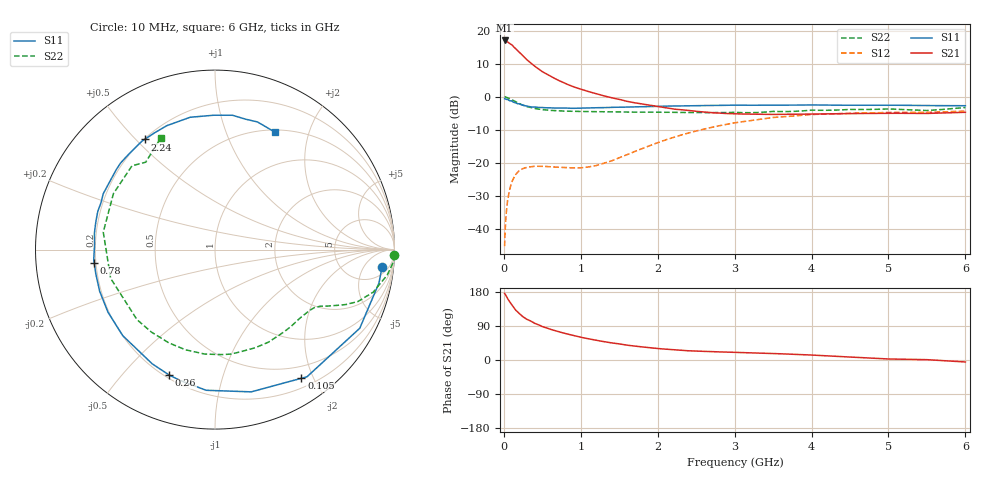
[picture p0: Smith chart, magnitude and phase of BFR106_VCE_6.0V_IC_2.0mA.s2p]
! Infineon Technologies  Discrete & RF Semiconductors
! BFR106
! VCE =  6.0 V,  IC =  2.0 mA
! Common Emitter S-Parameters:  Nov 2015
# GHz  S  MA  R  50
!  f  S11  S21  S12  S22
! GHz  MAG  ANG  MAG  ANG  MAG  ANG  MAG  ANG
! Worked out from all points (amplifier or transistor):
!   210 points, 10 MHz to 6 GHz, reference 50 ohm
!   highest |S21| = 17.0 dB at 10 MHz (marker M1)
!   |S21| within 3 dB of that: start of sweep to 176.8 MHz
!   unconditionally stable (mu >= 1): 781.2 MHz to 1.833 GHz; 4.054 GHz to end of sweep
!   at 185 MHz: K = 0.24, MSG = 18.2 dB, |S12| = -22.6 dB
!   at 1.52 GHz: K = 1.18, MAG = 6.1 dB, |S12| = -18.2 dB
!   at 6 GHz: K = 1.02, MAG = -1.1 dB, |S12| = -4.3 dB
!   S11 on the Smith chart (normalised r, x): 10 MHz: 9, -14; 105 MHz: 0.32, -1.83; 260 MHz: 0.22, -0.68; 780 MHz: 0.19, -0.05; 2.24 GHz: 0.20, +0.53; 6 GHz: 0.53, +1.50
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0.01  0.9361 -6.0  7.083 175.6  0.0056 88.3  0.9991 -1.7
0.025  0.9242 -14.4  6.952 171.0  0.0141 80.2  0.9932 -4.4
0.05  0.9179 -28.5  6.725 161.4  0.028 74.8  0.9701 -8.4
0.1  0.8745 -54.1  6.159 146.4  0.051 61.7  0.9125 -15.1
0.105  0.8636 -56.1  6.066 145.2  0.0525 60.3  0.9058 -15.5
0.15  0.8179 -75.7  5.378 132.3  0.0668 50.7  0.8481 -19.9
0.2  0.7854 -93.6  4.734 122.6  0.0772 43.9  0.7924 -22.7
0.26  0.7442 -110.0  4.027 112.5  0.0838 37.0  0.7376 -25.0
0.3  0.7262 -118.8  3.619 107.3  0.0864 34.2  0.7112 -26.2
0.4  0.7029 -136.9  2.906 96.9  0.0898 29.2  0.6672 -28.2
0.5  0.6907 -149.7  2.397 88.2  0.0899 27.3  0.6409 -30.3
0.6  0.6833 -160.2  2.059 81.2  0.0882 27.5  0.6257 -32.9
0.78  0.6771 -173.9  1.627 70.9  0.086 31.2  0.6099 -38.0
1.02  0.6784 171.1  1.281 59.2  0.0854 42.5  0.6016 -45.7
1.4  0.6962 153.4  0.967 45.2  0.1082 63.5  0.5955 -60.0
2.02  0.7188 129.9  0.707 29.9  0.2073 72.2  0.5853 -87.1
2.24  0.7285 122.6  0.649 26.5  0.2519 70.2  0.5827 -97.7
3.1  0.748 98.6  0.551 19.6  0.4208 52.1  0.5777 -143.4
3.5  0.7487 90.5  0.543 17.2  0.4886 42.6  0.6031 -164.6
4.1  0.7524 81.4  0.552 12.0  0.5457 28.3  0.6271 167.1
5.1  0.7469 70.6  0.565 2.3  0.5814 10.2  0.6494 133.5
6  0.7347 62.9  0.585 -5.2  0.6105 -1.4  0.6904 116.0
